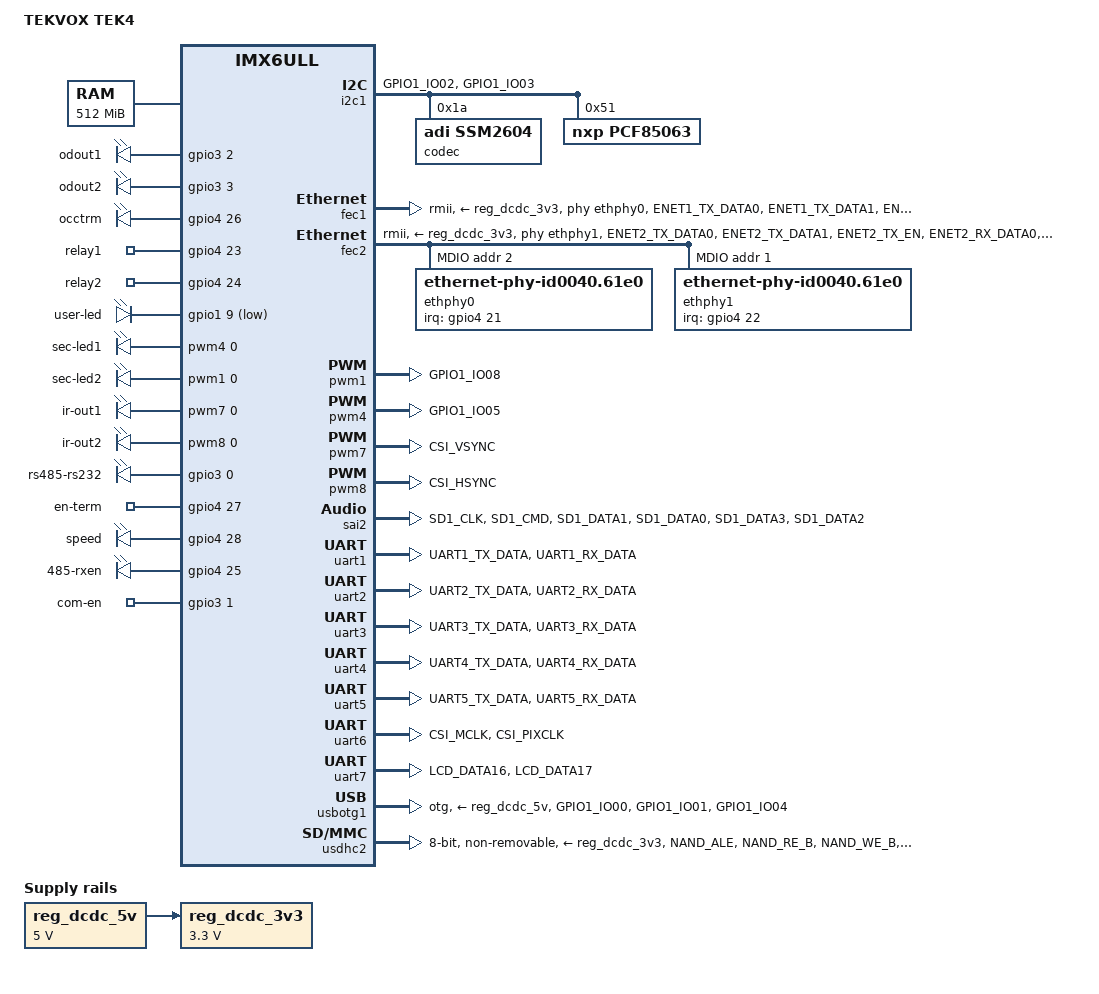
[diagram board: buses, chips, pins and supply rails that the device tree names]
// SPDX-License-Identifier: GPL-2.0-or-later OR MIT
/*
 * Copyright (C) 2023 TEKVOX, Inc.
 * Author(s): James Autry <jautry@tekvox.com>
 *	      Giulio Benetti <giulio.benetti@benettiengineering.com>
 */
/dts-v1/;

#include "imx6ull.dtsi"

/ {
	model = "TEKVOX TEK4";
	compatible = "fsl,imx6ull";

	chosen {
		stdout-path = &uart6;
	};

	memory {
		reg = <0x80000000 0x20000000>;
	};

	outputs {
		compatible = "gpio-leds";
		pinctrl-names = "default";
		pinctrl-0 = <&pinctrl_outputs>, <&pinctrl_led>,
			    <&pinctrl_relays>;

		odout1 {
			label = "odout1";
			gpios = <&gpio3 2 GPIO_ACTIVE_HIGH>;
			default-state = "off";
		};

		odout2 {
			label = "odout2";
			gpios = <&gpio3 3 GPIO_ACTIVE_HIGH>;
			default-state = "off";
		};

		occtrm {
			label = "occtrm";
			gpios = <&gpio4 26 GPIO_ACTIVE_HIGH>;
			default-state = "off";
		};

		relay1 {
			label = "relay1";
			gpios = <&gpio4 23 GPIO_ACTIVE_HIGH>;
			default-state = "off";
		};

		relay2 {
			label = "relay2";
			gpios = <&gpio4 24 GPIO_ACTIVE_HIGH>;
			default-state = "off";
		};

		user-led {
			label = "user-led";
			gpios = <&gpio1 9 GPIO_ACTIVE_LOW>;
			default-state = "off";
		};
	};

	pwm-leds {
		compatible = "pwm-leds";

		led-1 {
			label = "sec-led1";
			max-brightness = <255>;
			pwms = <&pwm4 0 50000 0>;
		};

		led-2 {
			label = "sec-led2";
			max-brightness = <255>;
			pwms = <&pwm1 0 50000 0>;
		};

		ir_out1 {
			label = "ir-out1";
			max-brightness = <255>;
			pwms = <&pwm7 0 50000 0>;
		};

		ir_out2 {
			label = "ir-out2";
			max-brightness = <255>;
			pwms = <&pwm8 0 50000 0>;
		};
	};

	reg_dcdc_3v3: regulator-3v3 {
		compatible = "regulator-fixed";
		regulator-name = "dcdc_3v3";
		regulator-min-microvolt = <3300000>;
		regulator-max-microvolt = <3300000>;
		regulator-always-on;
		vin-supply = <&reg_dcdc_5v>;
	};

	reg_dcdc_5v: regulator-5v {
		compatible = "regulator-fixed";
		regulator-name = "dcdc_5v";
		regulator-min-microvolt = <5000000>;
		regulator-max-microvolt = <5000000>;
		regulator-always-on;
		regulator-boot-on;
	};

	sound {
		compatible = "simple-audio-card";
		simple-audio-card,name = "mx6ul-ssm2604";
		simple-audio-card,format = "i2s";
		simple-audio-card,bitclock-master = <&dailink_master>;
		simple-audio-card,frame-master = <&dailink_master>;
		simple-audio-card,widgets =
			"Line", "Line In",
			"Line", "Line Out";

		simple-audio-card,cpu {
			sound-dai = <&sai2>;
		};

		dailink_master: simple-audio-card,codec {
			sound-dai = <&codec>;
			clocks = <&clks IMX6UL_CLK_SAI2>;
		};
	};

	ucom {
		compatible = "gpio-leds";
		pinctrl-names = "default";
		pinctrl-0 = <&pinctrl_ucom>;

		rs485-rs232 {
			label = "rs485-rs232";
			gpios = <&gpio3 0 GPIO_ACTIVE_HIGH>;
			default-state = "on";
		};

		en-term {
			label = "en-term";
			gpios = <&gpio4 27 GPIO_ACTIVE_HIGH>;
			default-state = "off";
		};

		speed {
			label = "speed";
			gpios = <&gpio4 28 GPIO_ACTIVE_HIGH>;
			default-state = "off";
		};

		485-rxen {
			label = "485-rxen";
			gpios = <&gpio4 25 GPIO_ACTIVE_HIGH>;
			default-state = "off";
		};

		com-en {
			label = "com-en";
			gpios = <&gpio3 1 GPIO_ACTIVE_HIGH>;
			default-state = "off";
		};
	};

	wdt-reboot {
		compatible = "wdt-reboot";
		wdt = <&wdog1>;
	};
};

&clks {
	assigned-clocks = <&clks IMX6UL_CLK_PLL4_AUDIO_DIV>;
	assigned-clock-rates = <786432000>;
};

&i2c1 {
	clock_frequency = <100000>;
	pinctrl-names = "default";
	pinctrl-0 = <&pinctrl_i2c1>;
	status = "okay";

	codec: ssm2604@1a {
		#sound-dai-cells = <0>;
		compatible = "adi,ssm2604";
		reg = <0x1a>;
	};

	pcf85063: rtc@51 {
		compatible = "nxp,pcf85063";
		reg = <0x51>;
		quartz-load-femtofarads = <12500>;

		clock {
			compatible = "fixed-clock";
			#clock-cells = <0>;
			clock-frequency = <32768>;
		};
	};
};

&fec1 {
	pinctrl-names = "default";
	pinctrl-0 = <&pinctrl_enet1>, <&pinctrl_enet1_phyrst>,
		    <&pinctrl_enet1_refclk>, <&pinctrl_enet1_int>;
	phy-mode = "rmii";
	phy-handle = <&ethphy0>;
	phy-supply = <&reg_dcdc_3v3>;
	phy-reset-gpios = <&gpio4 13 GPIO_ACTIVE_LOW>;
	phy-reset-duration = <1>;
	phy-reset-post-delay = <1>;
	status = "okay";
};

&fec2 {
	pinctrl-names = "default";
	pinctrl-0 = <&pinctrl_enet2>, <&pinctrl_enet2_phyrst>,
		    <&pinctrl_enet2_refclk>, <&pinctrl_enet2_int>,
		    <&pinctrl_enet2_mdio>;
	phy-mode = "rmii";
	phy-handle = <&ethphy1>;
	phy-supply = <&reg_dcdc_3v3>;
	phy-reset-gpios = <&gpio4 14 GPIO_ACTIVE_LOW>;
	phy-reset-duration = <1>;
	phy-reset-post-delay = <1>;
	status = "okay";

	mdio {
		#address-cells = <1>;
		#size-cells = <0>;

		ethphy0: ethernet-phy@2 {
			compatible = "ethernet-phy-id0040.61e0";
			reg = <2>;
			interrupts-extended = <&gpio4 21 IRQ_TYPE_EDGE_FALLING>;
		};

		ethphy1: ethernet-phy@1 {
			compatible = "ethernet-phy-id0040.61e0";
			reg = <1>;
			interrupts-extended = <&gpio4 22 IRQ_TYPE_EDGE_FALLING>;
		};
	};
};

&pwm1 {
	pinctrl-names = "default";
	pinctrl-0 = <&pinctrl_pwm1>;
	status = "okay";
};

&pwm4 {
	pinctrl-names = "default";
	pinctrl-0 = <&pinctrl_pwm4>;
	status = "okay";
};

&pwm7 {
	pinctrl-names = "default";
	pinctrl-0 = <&pinctrl_pwm7>;
	status = "okay";
};

&pwm8 {
	pinctrl-names = "default";
	pinctrl-0 = <&pinctrl_pwm8>;
	status = "okay";
};

&sai2 {
	pinctrl-names = "default";
	pinctrl-0 = <&pinctrl_sai2>;
	assigned-clocks = <&clks IMX6UL_CLK_SAI2_SEL>,
			  <&clks IMX6UL_CLK_SAI2>;
	assigned-clock-parents = <&clks IMX6UL_CLK_PLL4_AUDIO_DIV>;
	assigned-clock-rates = <0>, <12288000>;
	fsl,sai-mclk-direction-output;
	status = "okay";
};

&snvs_poweroff {
	status = "okay";
};

&uart1 {
	pinctrl-names = "default";
	pinctrl-0 = <&pinctrl_uart1>;
	status = "okay";
};

&uart2 {
	pinctrl-names = "default";
	pinctrl-0 = <&pinctrl_uart2>;
	status = "okay";
};

&uart3 {
	pinctrl-names = "default";
	pinctrl-0 = <&pinctrl_uart3>;
	status = "okay";
};

&uart4 {
	pinctrl-names = "default";
	pinctrl-0 = <&pinctrl_uart4>;
	status = "okay";
};

&uart5 {
	pinctrl-names = "default";
	pinctrl-0 = <&pinctrl_uart5>;
	status = "okay";
};

&uart6 {
	pinctrl-names = "default";
	pinctrl-0 = <&pinctrl_uart6>;
	status = "okay";
};

&uart7 {
	pinctrl-names = "default";
	pinctrl-0 = <&pinctrl_uart7>;
	status = "okay";
};

&usbotg1 {
	vbus-supply = <&reg_dcdc_5v>;
	pinctrl-names = "default";
	pinctrl-0 = <&pinctrl_usb_otg1>;
	dr_mode = "otg";
	over-current-active-low;
	status = "okay";
};

&usdhc2 {
	pinctrl-names = "default";
	pinctrl-0 = <&pinctrl_usdhc2>;
	vmmc-supply = <&reg_dcdc_3v3>;

	max-frequency = <52000000>;
	bus-width = <8>;
	non-removable;
	no-1-8-v;
	keep-power-in-suspend;
	wakeup-source;
	status = "okay";
};

&wdog1 {
	pinctrl-names = "default";
	pinctrl-0 = <&pinctrl_wdog>;
	fsl,ext-reset-output;
};

&iomuxc {
	pinctrl_enet1: enet1grp {
		fsl,pins = <
			MX6UL_PAD_ENET1_TX_DATA0__ENET1_TDATA00	0x1b0b0
			MX6UL_PAD_ENET1_TX_DATA1__ENET1_TDATA01	0x1b0b0
			MX6UL_PAD_ENET1_TX_EN__ENET1_TX_EN	0x1b0b0
			MX6UL_PAD_ENET1_RX_DATA0__ENET1_RDATA00	0x1b0b0
			MX6UL_PAD_ENET1_RX_DATA1__ENET1_RDATA01	0x1b0b0
			MX6UL_PAD_ENET1_RX_ER__ENET1_RX_ER	0x1b0b0
			MX6UL_PAD_ENET1_RX_EN__ENET1_RX_EN	0x1b0b0
		>;
	};

	pinctrl_enet1_int: enet1intgrp {
		fsl,pins = <
			MX6UL_PAD_CSI_DATA00__GPIO4_IO21	0x1b0b1
		>;
	};

	pinctrl_enet1_phyrst: enet1phyrstgrp {
		fsl,pins = <
			MX6UL_PAD_NAND_CE0_B__GPIO4_IO13	0x1b0b1
		>;
	};

	pinctrl_enet1_refclk: enet1refclkgrp {
		fsl,pins = <
			/* REFCLK with external 50Mhz Oscillator */
			MX6UL_PAD_ENET1_TX_CLK__ENET1_REF_CLK1	0x4001b0b1
		>;
	};

	pinctrl_enet2: enet2grp {
		fsl,pins = <
			MX6UL_PAD_ENET2_TX_DATA0__ENET2_TDATA00	0x1b0b0
			MX6UL_PAD_ENET2_TX_DATA1__ENET2_TDATA01	0x1b0b0
			MX6UL_PAD_ENET2_TX_EN__ENET2_TX_EN	0x1b0b0
			MX6UL_PAD_ENET2_RX_DATA0__ENET2_RDATA00	0x1b0b0
			MX6UL_PAD_ENET2_RX_DATA1__ENET2_RDATA01	0x1b0b0
			MX6UL_PAD_ENET2_RX_ER__ENET2_RX_ER	0x1b0b0
			MX6UL_PAD_ENET2_RX_EN__ENET2_RX_EN	0x1b0b0
		>;
	};

	pinctrl_enet2_int: enet2intgrp {
		fsl,pins = <
			MX6UL_PAD_CSI_DATA01__GPIO4_IO22	0x1b0b1
		>;
	};

	pinctrl_enet2_mdio: enet2mdiogrp {
		fsl,pins = <
			MX6UL_PAD_GPIO1_IO06__ENET2_MDIO	0x1b0b0
			MX6UL_PAD_GPIO1_IO07__ENET2_MDC		0x1b0b0
		>;
	};

	pinctrl_enet2_phyrst: enet2phyrstgrp {
		fsl,pins = <
			MX6UL_PAD_NAND_CE1_B__GPIO4_IO14	0x1b0b1
		>;
	};

	pinctrl_enet2_refclk: enet2refclkgrp {
		fsl,pins = <
			/* REFCLK with external 50Mhz Oscillator */
			MX6UL_PAD_ENET2_TX_CLK__ENET2_REF_CLK2	0x4001b0b1
		>;
	};

	pinctrl_inputs: inputsgrp {
		fsl,pins = <
			MX6UL_PAD_UART1_RTS_B__GPIO1_IO19	0x4001b0b0
			MX6UL_PAD_UART2_CTS_B__GPIO1_IO22	0x4001b0b0
			MX6UL_PAD_UART2_RTS_B__GPIO1_IO23	0x4001b0b0
			MX6UL_PAD_UART3_CTS_B__GPIO1_IO26	0x4001b0b0
			MX6UL_PAD_UART3_RTS_B__GPIO1_IO27	0x4001b0b0
		>;
	};

	pinctrl_i2c1: i2c1grp {
		fsl,pins = <
			MX6UL_PAD_GPIO1_IO02__I2C1_SCL		0x4001b8b0
			MX6UL_PAD_GPIO1_IO03__I2C1_SDA		0x4001b8b0
		>;
	};

	pinctrl_led: ledgrp {
		fsl,pins = <
			MX6UL_PAD_GPIO1_IO09__GPIO1_IO09	0x1b0b0
		>;
	};

	pinctrl_outputs: outputsgrp {
		fsl,pins = <
			MX6UL_PAD_LCD_HSYNC__GPIO3_IO02		0x190b0
			MX6UL_PAD_LCD_VSYNC__GPIO3_IO03		0x190b0
			MX6UL_PAD_CSI_DATA05__GPIO4_IO26	0x190b0
		>;
	};

	pinctrl_pwm1: pwm1grp {
		fsl,pins = <
			MX6UL_PAD_GPIO1_IO08__PWM1_OUT		0x190b0
		>;
	};

	pinctrl_pwm4: pwm4grp {
		fsl,pins = <
			MX6UL_PAD_GPIO1_IO05__PWM4_OUT		0x190b0
		>;
	};

	pinctrl_pwm7: pwm7grp {
		fsl,pins = <
			MX6UL_PAD_CSI_VSYNC__PWM7_OUT		0x190b0
		>;
	};

	pinctrl_pwm8: pwm8grp {
		fsl,pins = <
			MX6UL_PAD_CSI_HSYNC__PWM8_OUT		0x190b0
		>;
	};

	pinctrl_relays: relaysgrp {
		fsl,pins = <
			MX6UL_PAD_CSI_DATA02__GPIO4_IO23	0x190b0
			MX6UL_PAD_CSI_DATA03__GPIO4_IO24	0x190b0
		>;
	};

	pinctrl_sai2: sai2grp {
		fsl,pins = <
			MX6UL_PAD_SD1_CLK__SAI2_MCLK		0x17088
			MX6UL_PAD_SD1_CMD__SAI2_RX_SYNC		0x17088
			MX6UL_PAD_SD1_DATA1__SAI2_TX_BCLK	0x17088
			MX6UL_PAD_SD1_DATA0__SAI2_TX_SYNC	0x17088
			MX6UL_PAD_SD1_DATA3__SAI2_TX_DATA	0x11088
			MX6UL_PAD_SD1_DATA2__SAI2_RX_DATA	0x11088
		>;
	};

	pinctrl_uart1: uart1grp {
		fsl,pins = <
			MX6UL_PAD_UART1_TX_DATA__UART1_DCE_TX	0x1b0b1
			MX6UL_PAD_UART1_RX_DATA__UART1_DCE_RX	0x1b0b1
		>;
	};

	pinctrl_uart2: uart2grp {
		fsl,pins = <
			MX6UL_PAD_UART2_TX_DATA__UART2_DCE_TX	0x1b0b1
			MX6UL_PAD_UART2_RX_DATA__UART2_DCE_RX	0x1b0b1
		>;
	};

	pinctrl_uart3: uart3grp {
		fsl,pins = <
			MX6UL_PAD_UART3_TX_DATA__UART3_DCE_TX	0x1b0b1
			MX6UL_PAD_UART3_RX_DATA__UART3_DCE_RX	0x1b0b1
		>;
	};

	pinctrl_uart4: uart4grp {
		fsl,pins = <
			MX6UL_PAD_UART4_TX_DATA__UART4_DCE_TX	0x1b0b1
			MX6UL_PAD_UART4_RX_DATA__UART4_DCE_RX	0x1b0b1
		>;
	};

	pinctrl_uart5: uart5grp {
		fsl,pins = <
			MX6UL_PAD_UART5_TX_DATA__UART5_DCE_TX	0x1b0b1
			MX6UL_PAD_UART5_RX_DATA__UART5_DCE_RX	0x1b0b1
		>;
	};

	pinctrl_uart6: uart6grp {
		fsl,pins = <
			MX6UL_PAD_CSI_MCLK__UART6_DCE_TX	0x1b0b1
			MX6UL_PAD_CSI_PIXCLK__UART6_DCE_RX	0x1b0b1
		>;
	};

	pinctrl_uart7: uart7grp {
		fsl,pins = <
			MX6UL_PAD_LCD_DATA16__UART7_DCE_TX	0x1b0b1
			MX6UL_PAD_LCD_DATA17__UART7_DCE_RX	0x1b0b1
		>;
	};

	pinctrl_ucom: ucomgrp {
		fsl,pins = <
			MX6UL_PAD_LCD_CLK__GPIO3_IO00		0x190b0
			MX6UL_PAD_CSI_DATA06__GPIO4_IO27	0x190b0
			MX6UL_PAD_CSI_DATA07__GPIO4_IO28	0x190b0
			MX6UL_PAD_CSI_DATA04__GPIO4_IO25	0x190b0
			MX6UL_PAD_LCD_ENABLE__GPIO3_IO01	0x190b0
		>;
	};

	pinctrl_usb_otg1: usbotg1grp {
		fsl,pins = <
			MX6UL_PAD_GPIO1_IO00__ANATOP_OTG1_ID	0x17059
			MX6UL_PAD_GPIO1_IO01__USB_OTG1_OC	0x1b0b0
			MX6UL_PAD_GPIO1_IO04__USB_OTG1_PWR	0x1b099
		>;
	};

	pinctrl_usdhc2: usdhc2grp {
		fsl,pins = <
			MX6UL_PAD_NAND_ALE__USDHC2_RESET_B	0x1b059
			MX6UL_PAD_NAND_RE_B__USDHC2_CLK		0x10069
			MX6UL_PAD_NAND_WE_B__USDHC2_CMD		0x17059
			MX6UL_PAD_NAND_DATA00__USDHC2_DATA0	0x17059
			MX6UL_PAD_NAND_DATA01__USDHC2_DATA1	0x17059
			MX6UL_PAD_NAND_DATA02__USDHC2_DATA2	0x17059
			MX6UL_PAD_NAND_DATA03__USDHC2_DATA3	0x17059
			MX6UL_PAD_NAND_DATA04__USDHC2_DATA4	0x17059
			MX6UL_PAD_NAND_DATA05__USDHC2_DATA5	0x17059
			MX6UL_PAD_NAND_DATA06__USDHC2_DATA6	0x17059
			MX6UL_PAD_NAND_DATA07__USDHC2_DATA7	0x17059
		>;
	};

	pinctrl_wdog: wdoggrp {
		fsl,pins = <
			MX6UL_PAD_LCD_RESET__WDOG1_WDOG_ANY	0x30b0
		>;
	};
};
